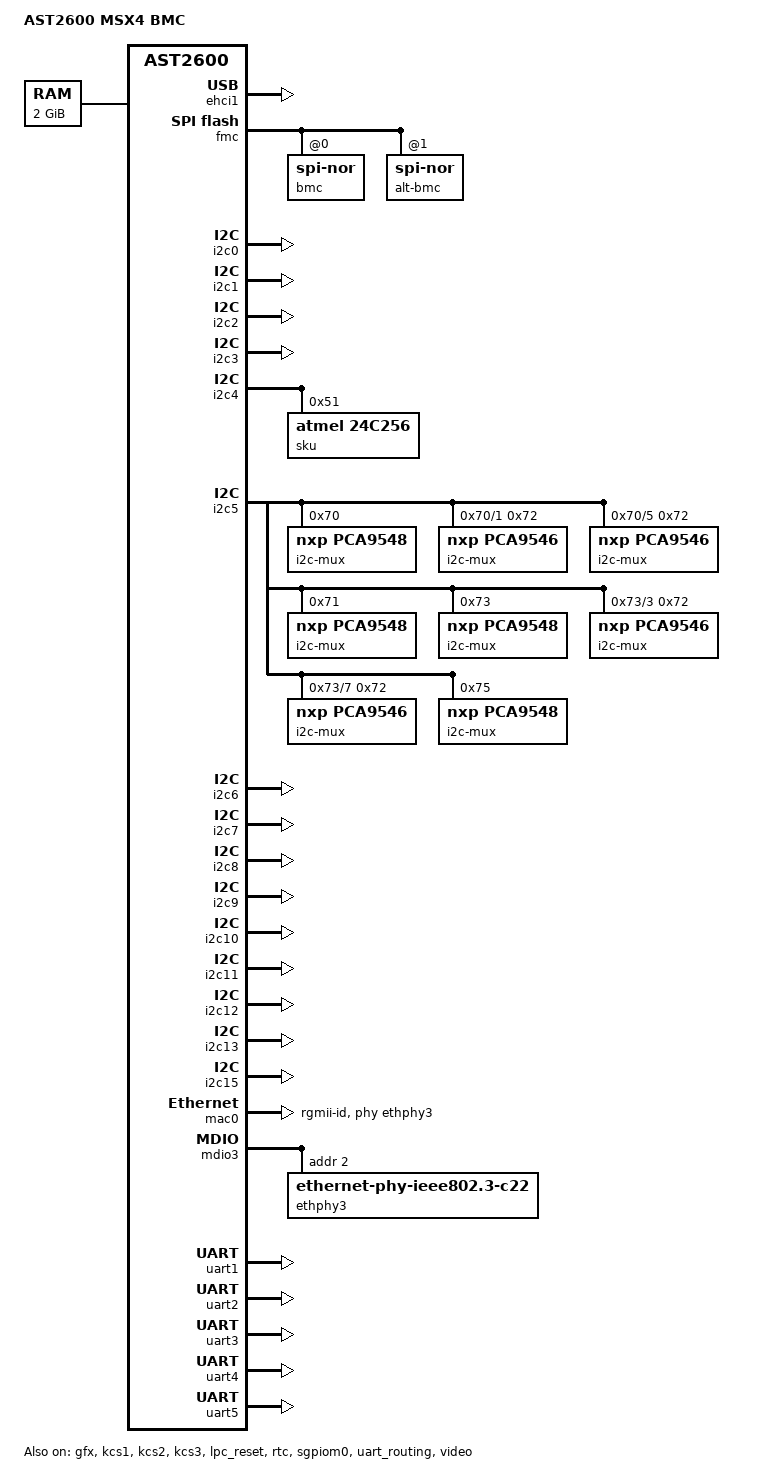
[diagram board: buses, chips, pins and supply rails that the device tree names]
// SPDX-License-Identifier: GPL-2.0
/dts-v1/;

#include "aspeed-g6.dtsi"
#include <dt-bindings/gpio/aspeed-gpio.h>
#include <dt-bindings/i2c/i2c.h>

/ {
	model = "AST2600 MSX4 BMC";
	compatible = "nvidia,msx4-bmc", "aspeed,ast2600";

	aliases {
		serial0 = &uart1;
		serial1 = &uart2;
		serial2 = &uart3;
		serial3 = &uart4;
		serial4 = &uart5;

		i2c16 = &i2c5mux0chn0;
		i2c17 = &i2c5mux0chn1;
		i2c18 = &i2c5mux0chn2;
		i2c19 = &i2c5mux0chn3;
		i2c20 = &i2c5mux0chn4;
		i2c21 = &i2c5mux0chn5;
		i2c22 = &i2c5mux0chn6;
		i2c23 = &i2c5mux0chn7;
		i2c24 = &i2c5mux1chn0;
		i2c25 = &i2c5mux1chn1;
		i2c26 = &i2c5mux1chn2;
		i2c27 = &i2c5mux1chn3;
		i2c28 = &i2c5mux1chn4;
		i2c29 = &i2c5mux1chn5;
		i2c30 = &i2c5mux1chn6;
		i2c31 = &i2c5mux1chn7;
		i2c32 = &i2c5mux2chn0;
		i2c33 = &i2c5mux2chn1;
		i2c34 = &i2c5mux2chn2;
		i2c35 = &i2c5mux2chn3;
		i2c36 = &i2c5mux2chn4;
		i2c37 = &i2c5mux2chn5;
		i2c38 = &i2c5mux2chn6;
		i2c39 = &i2c5mux2chn7;
		i2c40 = &i2c5mux3chn0;
		i2c41 = &i2c5mux3chn1;
		i2c42 = &i2c5mux3chn2;
		i2c43 = &i2c5mux3chn3;
		i2c44 = &i2c5mux3chn4;
		i2c45 = &i2c5mux3chn5;
		i2c46 = &i2c5mux3chn6;
		i2c47 = &i2c5mux3chn7;
		i2c48 = &i2c17mux0chn0;
		i2c49 = &i2c17mux0chn1;
		i2c50 = &i2c17mux0chn2;
		i2c51 = &i2c17mux0chn3;
		i2c52 = &i2c21mux0chn0;
		i2c53 = &i2c21mux0chn1;
		i2c54 = &i2c21mux0chn2;
		i2c55 = &i2c21mux0chn3;
		i2c56 = &i2c35mux0chn0;
		i2c57 = &i2c35mux0chn1;
		i2c58 = &i2c35mux0chn2;
		i2c59 = &i2c35mux0chn3;
		i2c60 = &i2c39mux0chn0;
		i2c61 = &i2c39mux0chn1;
		i2c62 = &i2c39mux0chn2;
		i2c63 = &i2c39mux0chn3;
	};

	chosen {
		stdout-path = "uart5:115200n8";
	};

	memory@80000000 {
		device_type = "memory";
		reg = <0x80000000 0x80000000>;
	};

	reserved-memory {
		#address-cells = <1>;
		#size-cells = <1>;
		ranges;

		gfx_memory: framebuffer {
			compatible = "shared-dma-pool";
			size = <0x01000000>;
			alignment = <0x01000000>;
			reusable;
		};

		video_engine_memory: jpegbuffer {
			compatible = "shared-dma-pool";
			size = <0x02000000>;	/* 32M */
			alignment = <0x01000000>;
			reusable;
		};
	};
};

&ehci1 {
	status = "okay";
};

&fmc {
	status = "okay";

	flash@0 {
		compatible = "jedec,spi-nor";
		label = "bmc";
		status = "okay";
		#include "openbmc-flash-layout-128.dtsi"
	};

	flash@1 {
		compatible = "jedec,spi-nor";
		label = "alt-bmc";
		spi-tx-bus-width = <1>;
		spi-rx-bus-width = <1>;
		status = "okay";
		#include "openbmc-flash-layout-128-alt.dtsi"
	};
};

&gfx {
	memory-region = <&gfx_memory>;
	status = "okay";
};

&gpio0 {
	gpio-line-names =
	/*A0-A7*/	"","","","","","","","",
	/*B0-B7*/	"ASSERT_BMC_READY","","","","","","","",
	/*C0-C7*/	"MON_PWR_GOOD","","","","","","","FP_ID_LED_N",
	/*D0-D7*/	"","","","","","","","",
	/*E0-E7*/	"","","","","","","","",
	/*F0-F7*/	"","","","","","","","",
	/*G0-G7*/	"","","FP_LED_STATUS_GREEN_N","FP_LED_STATUS_AMBER_N",
			"","","","",
	/*H0-H7*/	"","","","","","","","",
	/*I0-I7*/	"","","","","","","","",
	/*J0-J7*/	"","","","","","","","",
	/*K0-K7*/	"","","","","","","","",
	/*L0-L7*/	"","","","","","","","",
	/*M0-M7*/	"","","","","","","","",
	/*N0-N7*/	"","","","","","","","",
	/*O0-O7*/	"","","","","","","","",
	/*P0-P7*/	"MON_PWR_BTN_L","ASSERT_PWR_BTN_L","MON_RST_BTN_L",
			"ASSERT_RST_BTN_L","","ASSERT_NMI_BTN_L","","",
	/*Q0-Q7*/	"","","MEMORY_HOT_0","MEMORY_HOT_1","","","","",
	/*R0-R7*/	"ID_BTN","","","","","VBAT_GPIO","","",
	/*S0-S7*/	"","","RST_PCA_MUX","","","","","",
	/*T0-T7*/	"","","","","","","","",
	/*U0-U7*/	"","","","","","","","",
	/*V0-V7*/	"","","","","","","","",
	/*W0-W7*/	"","","","","","","","",
	/*X0-X7*/	"","","","","","","","",
	/*Y0-Y7*/	"","","","","","","","",
	/*Z0-Z7*/	"","","","","","","","";
};

&gpio1 {
	gpio-line-names =
	/*18A0-18A7*/ "","","","","","","","",
	/*18B0-18B7*/ "","","","","","","","",
	/*18C0-18C7*/ "","","","","","","","",
	/*18D0-18D7*/ "","","","","","","","",
	/*18E0-18E3*/ "","","BMC_INIT_DONE","";
};

// Devices on these busses are available after POST
// however there isn't a great way to defer probing
// until that point today, as the BMC doesn't
// have direct control over when the host completes
// POST, especially from the kernel.
&i2c0 {
	status = "okay";
};

&i2c1 {
	status = "okay";
};

&i2c2 {
	status = "okay";
};

&i2c3 {
	status = "okay";
};

&i2c4 {
	status = "okay";

	eeprom@51 {
		compatible = "atmel,24c256";
		reg = <0x51>;
		pagesize = <64>;
		label = "sku";
	};
};

&i2c5 {
	status = "okay";

	i2c-mux@70 {
		compatible = "nxp,pca9548";
		reg = <0x70>;
		#address-cells = <1>;
		#size-cells = <0>;
		i2c-mux-idle-disconnect;

		i2c5mux0chn0: i2c@0 {
			#address-cells = <1>;
			#size-cells = <0>;
			reg = <0>;
		};

		i2c5mux0chn1: i2c@1 {
			#address-cells = <1>;
			#size-cells = <0>;
			reg = <1>;

			i2c-mux@72 {
				compatible = "nxp,pca9546";
				reg = <0x72>;
				#address-cells = <1>;
				#size-cells = <0>;
				i2c-mux-idle-disconnect;

				i2c17mux0chn0: i2c@0 {
					#address-cells = <1>;
					#size-cells = <0>;
					reg = <0>;
				};

				i2c17mux0chn1: i2c@1 {
					#address-cells = <1>;
					#size-cells = <0>;
					reg = <1>;
				};

				i2c17mux0chn2: i2c@2 {
					#address-cells = <1>;
					#size-cells = <0>;
					reg = <2>;
				};

				i2c17mux0chn3: i2c@3 {
					#address-cells = <1>;
					#size-cells = <0>;
					reg = <3>;
				};
			};
		};

		i2c5mux0chn2: i2c@2 {
			#address-cells = <1>;
			#size-cells = <0>;
			reg = <2>;
		};

		i2c5mux0chn3: i2c@3 {
			#address-cells = <1>;
			#size-cells = <0>;
			reg = <3>;
		};

		i2c5mux0chn4: i2c@4 {
			#address-cells = <1>;
			#size-cells = <0>;
			reg = <4>;
		};

		i2c5mux0chn5: i2c@5 {
			#address-cells = <1>;
			#size-cells = <0>;
			reg = <5>;

			i2c-mux@72 {
				compatible = "nxp,pca9546";
				reg = <0x72>;
				#address-cells = <1>;
				#size-cells = <0>;
				i2c-mux-idle-disconnect;

				i2c21mux0chn0: i2c@0 {
					#address-cells = <1>;
					#size-cells = <0>;
					reg = <0>;
				};

				i2c21mux0chn1: i2c@1 {
					#address-cells = <1>;
					#size-cells = <0>;
					reg = <1>;
				};

				i2c21mux0chn2: i2c@2 {
					#address-cells = <1>;
					#size-cells = <0>;
					reg = <2>;
				};

				i2c21mux0chn3: i2c@3 {
					#address-cells = <1>;
					#size-cells = <0>;
					reg = <3>;
				};
			};
		};

		i2c5mux0chn6: i2c@6 {
			#address-cells = <1>;
			#size-cells = <0>;
			reg = <6>;
		};

		i2c5mux0chn7: i2c@7 {
			#address-cells = <1>;
			#size-cells = <0>;
			reg = <7>;
		};
	};

	i2c-mux@71 {
		compatible = "nxp,pca9548";
		reg = <0x71>;
		#address-cells = <1>;
		#size-cells = <0>;
		i2c-mux-idle-disconnect;

		i2c5mux1chn0: i2c@0 {
			#address-cells = <1>;
			#size-cells = <0>;
			reg = <0>;
		};

		i2c5mux1chn1: i2c@1 {
			#address-cells = <1>;
			#size-cells = <0>;
			reg = <1>;
		};

		i2c5mux1chn2: i2c@2 {
			#address-cells = <1>;
			#size-cells = <0>;
			reg = <2>;
		};

		i2c5mux1chn3: i2c@3 {
			#address-cells = <1>;
			#size-cells = <0>;
			reg = <3>;
		};

		i2c5mux1chn4: i2c@4 {
			#address-cells = <1>;
			#size-cells = <0>;
			reg = <4>;
		};

		i2c5mux1chn5: i2c@5 {
			#address-cells = <1>;
			#size-cells = <0>;
			reg = <5>;
		};

		i2c5mux1chn6: i2c@6 {
			#address-cells = <1>;
			#size-cells = <0>;
			reg = <6>;
		};

		i2c5mux1chn7: i2c@7 {
			#address-cells = <1>;
			#size-cells = <0>;
			reg = <7>;
		};
	};

	i2c-mux@73 {
		compatible = "nxp,pca9548";
		reg = <0x73>;
		#address-cells = <1>;
		#size-cells = <0>;
		i2c-mux-idle-disconnect;

		i2c5mux2chn0: i2c@0 {
			#address-cells = <1>;
			#size-cells = <0>;
			reg = <0>;
		};

		i2c5mux2chn1: i2c@1 {
			#address-cells = <1>;
			#size-cells = <0>;
			reg = <1>;
		};

		i2c5mux2chn2: i2c@2 {
			#address-cells = <1>;
			#size-cells = <0>;
			reg = <2>;
		};

		i2c5mux2chn3: i2c@3 {
			#address-cells = <1>;
			#size-cells = <0>;
			reg = <3>;

			i2c-mux@72 {
				compatible = "nxp,pca9546";
				reg = <0x72>;
				#address-cells = <1>;
				#size-cells = <0>;
				i2c-mux-idle-disconnect;

				i2c35mux0chn0: i2c@0 {
					#address-cells = <1>;
					#size-cells = <0>;
					reg = <0>;
				};

				i2c35mux0chn1: i2c@1 {
					#address-cells = <1>;
					#size-cells = <0>;
					reg = <1>;
				};

				i2c35mux0chn2: i2c@2 {
					#address-cells = <1>;
					#size-cells = <0>;
					reg = <2>;
				};

				i2c35mux0chn3: i2c@3 {
					#address-cells = <1>;
					#size-cells = <0>;
					reg = <3>;
				};
			};
		};

		i2c5mux2chn4: i2c@4 {
			#address-cells = <1>;
			#size-cells = <0>;
			reg = <4>;
		};

		i2c5mux2chn5: i2c@5 {
			#address-cells = <1>;
			#size-cells = <0>;
			reg = <5>;
		};

		i2c5mux2chn6: i2c@6 {
			#address-cells = <1>;
			#size-cells = <0>;
			reg = <6>;
		};

		i2c5mux2chn7: i2c@7 {
			#address-cells = <1>;
			#size-cells = <0>;
			reg = <7>;

			i2c-mux@72 {
				compatible = "nxp,pca9546";
				reg = <0x72>;
				#address-cells = <1>;
				#size-cells = <0>;
				i2c-mux-idle-disconnect;

				i2c39mux0chn0: i2c@0 {
					#address-cells = <1>;
					#size-cells = <0>;
					reg = <0>;
				};

				i2c39mux0chn1: i2c@1 {
					#address-cells = <1>;
					#size-cells = <0>;
					reg = <1>;
				};

				i2c39mux0chn2: i2c@2 {
					#address-cells = <1>;
					#size-cells = <0>;
					reg = <2>;
				};

				i2c39mux0chn3: i2c@3 {
					#address-cells = <1>;
					#size-cells = <0>;
					reg = <3>;
				};
			};
		};
	};

	i2c-mux@75 {
		compatible = "nxp,pca9548";
		reg = <0x75>;
		#address-cells = <1>;
		#size-cells = <0>;
		i2c-mux-idle-disconnect;

		i2c5mux3chn0: i2c@0 {
			#address-cells = <1>;
			#size-cells = <0>;
			reg = <0>;
		};

		i2c5mux3chn1: i2c@1 {
			#address-cells = <1>;
			#size-cells = <0>;
			reg = <1>;
		};

		i2c5mux3chn2: i2c@2 {
			#address-cells = <1>;
			#size-cells = <0>;
			reg = <2>;
		};

		i2c5mux3chn3: i2c@3 {
			#address-cells = <1>;
			#size-cells = <0>;
			reg = <3>;
		};

		i2c5mux3chn4: i2c@4 {
			#address-cells = <1>;
			#size-cells = <0>;
			reg = <4>;
		};

		i2c5mux3chn5: i2c@5 {
			#address-cells = <1>;
			#size-cells = <0>;
			reg = <5>;
		};

		i2c5mux3chn6: i2c@6 {
			#address-cells = <1>;
			#size-cells = <0>;
			reg = <6>;
		};

		i2c5mux3chn7: i2c@7 {
			#address-cells = <1>;
			#size-cells = <0>;
			reg = <7>;
		};
	};
};

&i2c6 {
	status = "okay";
};

&i2c7 {
	status = "okay";
};

&i2c8 {
	status = "okay";
};

&i2c9 {
	status = "okay";
};

&i2c10 {
	status = "okay";
};

&i2c11 {
	status = "okay";
};

&i2c12 {
	status = "okay";
};

&i2c13 {
	status = "okay";
};

&i2c15 {
	status = "okay";
};

&kcs1 {
	aspeed,lpc-io-reg = <0xca0>;
	status = "okay";
};

&kcs2 {
	aspeed,lpc-io-reg = <0xca8>;
	status = "okay";
};

&kcs3 {
	aspeed,lpc-io-reg = <0xca2>;
	status = "okay";
};

&lpc_reset {
	status = "okay";
};

&mac0 {
	phy-mode = "rgmii-id";
	phy-handle = <&ethphy3>;
	status = "okay";
};

&mdio3 {
	status = "okay";

	ethphy3: ethernet-phy@2 {
		compatible = "ethernet-phy-ieee802.3-c22";
		reg = <2>;
	};
};

&rtc {
	status = "okay";
};

&sgpiom0 {
	ngpios = <80>;
	status = "okay";
};

&uart_routing {
	status = "okay";
};

&uart1 {
	status = "okay";
};

&uart2 {
	status = "okay";
};

&uart3 {
	status = "okay";
};

&uart4 {
	status = "okay";
};

&uart5 {
	status = "okay";
};

&video {
	memory-region = <&video_engine_memory>;
	status = "okay";
};
